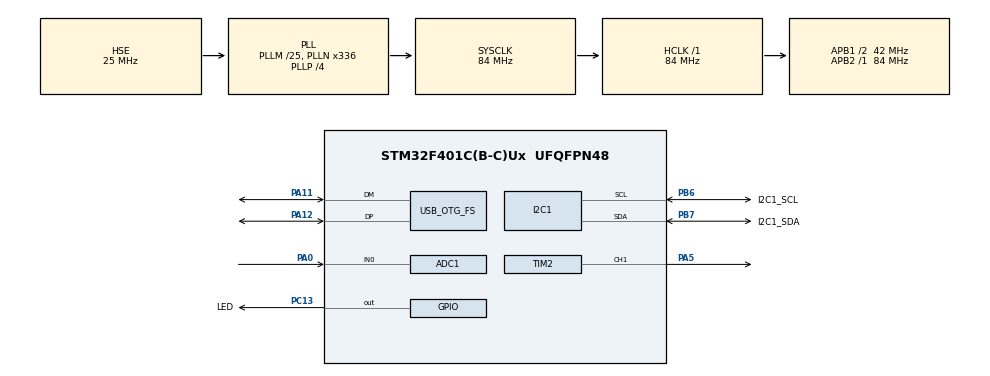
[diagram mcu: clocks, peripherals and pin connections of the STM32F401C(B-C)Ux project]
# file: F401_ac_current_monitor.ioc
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ADC1.Channel-4\#ChannelRegularConversion=ADC_CHANNEL_0
ADC1.Channel-6\#ChannelRegularConversion=ADC_CHANNEL_0
ADC1.ContinuousConvMode=ENABLE
ADC1.NbrOfConversion=2
ADC1.NbrOfConversionFlag=1
ADC1.Rank-4\#ChannelRegularConversion=1
ADC1.Rank-6\#ChannelRegularConversion=2
ADC1.SamplingTime-4\#ChannelRegularConversion=ADC_SAMPLETIME_480CYCLES
ADC1.SamplingTime-6\#ChannelRegularConversion=ADC_SAMPLETIME_480CYCLES
ADC1.master=1
I2C1.I2C_Mode=I2C_Fast
Mcu.Family=STM32F4
Mcu.Name=STM32F401C(B-C)Ux
Mcu.Package=UFQFPN48
NVIC.ADC_IRQn=true\:0\:0\:false\:false\:true\:true\:true\:true
NVIC.OTG_FS_IRQn=true\:0\:0\:false\:false\:true\:true\:true\:true
NVIC.PriorityGroup=NVIC_PRIORITYGROUP_4
PA0-WKUP.Signal=ADCx_IN0
PA11.Mode=Device_Only
PA11.Signal=USB_OTG_FS_DM
PA12.Mode=Device_Only
PA12.Signal=USB_OTG_FS_DP
PA13.Mode=Serial_Wire
PA13.Signal=SYS_JTMS-SWDIO
PA14.Mode=Serial_Wire
PA14.Signal=SYS_JTCK-SWCLK
PA5.Signal=S_TIM2_CH1_ETR
PB6.GPIO_Label=I2C1_SCL
PB6.Mode=I2C
PB6.Signal=I2C1_SCL
PB7.GPIO_Label=I2C1_SDA
PB7.Mode=I2C
PB7.Signal=I2C1_SDA
PC13-ANTI_TAMP.GPIO_Label=LED
PC13-ANTI_TAMP.PinState=GPIO_PIN_SET
PC13-ANTI_TAMP.Signal=GPIO_Output
PC14-OSC32_IN.Mode=LSE-External-Oscillator
PC14-OSC32_IN.Signal=RCC_OSC32_IN
PC15-OSC32_OUT.Mode=LSE-External-Oscillator
PC15-OSC32_OUT.Signal=RCC_OSC32_OUT
PH0\ -\ OSC_IN.Mode=HSE-External-Oscillator
PH0\ -\ OSC_IN.Signal=RCC_OSC_IN
PH1\ -\ OSC_OUT.Mode=HSE-External-Oscillator
PH1\ -\ OSC_OUT.Signal=RCC_OSC_OUT
ProjectManager.HeapSize=0x200
ProjectManager.StackSize=0x400
ProjectManager.TargetToolchain=STM32CubeIDE
RCC.48MHZClocksFreq_Value=48000000
RCC.AHBFreq_Value=84000000
RCC.APB1CLKDivider=RCC_HCLK_DIV2
RCC.APB1Freq_Value=42000000
RCC.APB1TimFreq_Value=84000000
RCC.APB2Freq_Value=84000000
RCC.APB2TimFreq_Value=84000000
RCC.CortexFreq_Value=84000000
RCC.HCLKFreq_Value=84000000
RCC.HSE_VALUE=25000000
RCC.HSI_VALUE=16000000
RCC.PLLM=25
RCC.PLLN=336
RCC.PLLP=RCC_PLLP_DIV4
RCC.PLLQ=7
RCC.RCC_RTC_Clock_Source=RCC_RTCCLKSOURCE_LSE
RCC.RCC_RTC_Clock_SourceVirtual=RCC_RTCCLKSOURCE_LSE
RCC.SYSCLKFreq_VALUE=84000000
RCC.SYSCLKSource=RCC_SYSCLKSOURCE_PLLCLK
RCC.VCOOutputFreq_Value=336000000
RTC.Date=4
RTC.Month=RTC_MONTH_SEPTEMBER
RTC.WeekDay=RTC_WEEKDAY_SUNDAY
RTC.Year=22
SH.ADCx_IN0.0=ADC1_IN0,IN0
SH.S_TIM2_CH1_ETR.0=TIM2_CH1,PWM Generation1 CH1
TIM2.AutoReloadPreload=TIM_AUTORELOAD_PRELOAD_ENABLE
TIM2.Channel-PWM\ Generation1\ CH1=TIM_CHANNEL_1
TIM2.Period=65535
USB_DEVICE.CLASS_NAME_FS=CDC
USB_DEVICE.VirtualMode=Cdc
USB_DEVICE.VirtualModeFS=Cdc_FS
USB_OTG_FS.VirtualMode=Device_Only
VP_RTC_VS_RTC_Activate.Mode=RTC_Enabled
VP_RTC_VS_RTC_Calendar.Mode=RTC_Calendar
VP_TIM2_VS_ClockSourceINT.Mode=Internal
VP_USB_DEVICE_VS_USB_DEVICE_CDC_FS.Mode=CDC_FS
board=custom

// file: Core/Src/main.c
/* USER CODE BEGIN Header */
/**
  ******************************************************************************
  * @file           : main.c
  * @brief          : Main program body
  ******************************************************************************
  * @attention
  *
  * Copyright (c) 2022 STMicroelectronics.
  * All rights reserved.
  *
  * This software is licensed under terms that can be found in the LICENSE file
  * in the root directory of this software component.
  * If no LICENSE file comes with this software, it is provided AS-IS.
  *
  ******************************************************************************
  */
/* USER CODE END Header */
#include "main.h"
#include "usb_device.h"

/* USER CODE BEGIN Includes */
#include <string.h>
#include "stdio.h"
#include "ssd1306.h"
#include "fonts.h"
#include <inttypes.h>

/* USER CODE END Includes */

ADC_HandleTypeDef hadc1;

I2C_HandleTypeDef hi2c1;

RTC_HandleTypeDef hrtc;

TIM_HandleTypeDef htim2;

/* USER CODE BEGIN PV */
uint16_t adc_result = 0;
char adc_result_str[5];
char volts_str[5];
/* USER CODE END PV */

void SystemClock_Config(void);
static void MX_GPIO_Init(void);
static void MX_ADC1_Init(void);
static void MX_RTC_Init(void);
static void MX_TIM2_Init(void);
static void MX_I2C1_Init(void);
/* USER CODE BEGIN PFP */
float compute_volts(uint16_t);
/* USER CODE END PFP */

/* USER CODE BEGIN 0 */
void HAL_ADC_ConvCpltCallback(ADC_HandleTypeDef* hadc){
	adc_result = HAL_ADC_GetValue(&hadc1);
//	HAL_ADC_Start_IT(&hadc1);
}
/* USER CODE END 0 */

int main(void)
{

  /* MCU Configuration--------------------------------------------------------*/

  /* Reset of all peripherals, Initializes the Flash interface and the Systick. */
  HAL_Init();

  /* Configure the system clock */
  SystemClock_Config();

  /* Initialize all configured peripherals */
  MX_GPIO_Init();
  MX_ADC1_Init();
  MX_RTC_Init();
  MX_USB_DEVICE_Init();
  MX_TIM2_Init();
  MX_I2C1_Init();
  /* USER CODE BEGIN 2 */

  // Init lcd using one of the stm32HAL i2c typedefs
  SSD1306_Init();

  SSD1306_Fill(0);
  SSD1306_UpdateScreen();

  HAL_Delay(1000);

  // Write data to local screenbuffer
  SSD1306_GotoXY(0, 0);
  SSD1306_Puts("HELLO", &Font_11x18, 1);
  SSD1306_GotoXY(10, 30);
  SSD1306_Puts(" WORLD", &Font_11x18, 1);

  SSD1306_UpdateScreen();

  // Draw rectangle on screen
  for (uint8_t i=0; i<28; i++) {
      for (uint8_t j=0; j<64; j++) {
          SSD1306_DrawPixel(100+i, 0+j, 1);
      }
  }
  // Copy all data from local screenbuffer to the screen
  SSD1306_UpdateScreen();

  HAL_Delay(1000);
  SSD1306_Clear();

  HAL_TIM_PWM_Start(&htim2, TIM_CHANNEL_1);
  for (uint8_t i = 0; i < 7; i++){
	  HAL_GPIO_TogglePin(LED_GPIO_Port, LED_Pin);
  	  HAL_Delay(200);
  }

  HAL_ADC_Start_IT(&hadc1);
  /* USER CODE END 2 */

  /* Infinite loop */
  /* USER CODE BEGIN WHILE */
  while (1)
  {
	  TIM2->CCR1 = (adc_result<<4);
	  HAL_GPIO_TogglePin(LED_GPIO_Port, LED_Pin);

	  SSD1306_Fill (0);
	  SSD1306_GotoXY(0, 0);
	  sprintf(adc_result_str, "%u", adc_result);
	  sprintf(volts_str, "%.3f", compute_volts(adc_result));
	  SSD1306_Puts(adc_result_str, &Font_11x18, 1);
	  SSD1306_GotoXY(0, 18);
	  SSD1306_Puts(volts_str, &Font_11x18, 1);
	  SSD1306_GotoXY(55, 18);
	  SSD1306_Puts(" Volts", &Font_11x18, 1);
	  SSD1306_UpdateScreen();
	  // HAL_Delay(5);

    /* USER CODE END WHILE */

  }
}

void SystemClock_Config(void)
{
  RCC_OscInitTypeDef RCC_OscInitStruct = {0};
  RCC_ClkInitTypeDef RCC_ClkInitStruct = {0};

  /** Configure the main internal regulator output voltage
  */
  __HAL_RCC_PWR_CLK_ENABLE();
  __HAL_PWR_VOLTAGESCALING_CONFIG(PWR_REGULATOR_VOLTAGE_SCALE2);

  /** Initializes the RCC Oscillators according to the specified parameters
  * in the RCC_OscInitTypeDef structure.
  */
  RCC_OscInitStruct.OscillatorType = RCC_OSCILLATORTYPE_HSE|RCC_OSCILLATORTYPE_LSE;
  RCC_OscInitStruct.HSEState = RCC_HSE_ON;
  RCC_OscInitStruct.LSEState = RCC_LSE_ON;
  RCC_OscInitStruct.PLL.PLLState = RCC_PLL_ON;
  RCC_OscInitStruct.PLL.PLLSource = RCC_PLLSOURCE_HSE;
  RCC_OscInitStruct.PLL.PLLM = 25;
  RCC_OscInitStruct.PLL.PLLN = 336;
  RCC_OscInitStruct.PLL.PLLP = RCC_PLLP_DIV4;
  RCC_OscInitStruct.PLL.PLLQ = 7;
  if (HAL_RCC_OscConfig(&RCC_OscInitStruct) != HAL_OK)
  {
    Error_Handler();
  }

  /** Initializes the CPU, AHB and APB buses clocks
  */
  RCC_ClkInitStruct.ClockType = RCC_CLOCKTYPE_HCLK|RCC_CLOCKTYPE_SYSCLK
                              |RCC_CLOCKTYPE_PCLK1|RCC_CLOCKTYPE_PCLK2;
  RCC_ClkInitStruct.SYSCLKSource = RCC_SYSCLKSOURCE_PLLCLK;
  RCC_ClkInitStruct.AHBCLKDivider = RCC_SYSCLK_DIV1;
  RCC_ClkInitStruct.APB1CLKDivider = RCC_HCLK_DIV2;
  RCC_ClkInitStruct.APB2CLKDivider = RCC_HCLK_DIV1;

  if (HAL_RCC_ClockConfig(&RCC_ClkInitStruct, FLASH_LATENCY_2) != HAL_OK)
  {
    Error_Handler();
  }
}

static void MX_ADC1_Init(void)
{

  ADC_ChannelConfTypeDef sConfig = {0};

  /** Configure the global features of the ADC (Clock, Resolution, Data Alignment and number of conversion)
  */
  hadc1.Instance = ADC1;
  hadc1.Init.ClockPrescaler = ADC_CLOCK_SYNC_PCLK_DIV4;
  hadc1.Init.Resolution = ADC_RESOLUTION_12B;
  hadc1.Init.ScanConvMode = ENABLE;
  hadc1.Init.ContinuousConvMode = ENABLE;
  hadc1.Init.DiscontinuousConvMode = DISABLE;
  hadc1.Init.ExternalTrigConvEdge = ADC_EXTERNALTRIGCONVEDGE_NONE;
  hadc1.Init.ExternalTrigConv = ADC_SOFTWARE_START;
  hadc1.Init.DataAlign = ADC_DATAALIGN_RIGHT;
  hadc1.Init.NbrOfConversion = 2;
  hadc1.Init.DMAContinuousRequests = DISABLE;
  hadc1.Init.EOCSelection = ADC_EOC_SINGLE_CONV;
  if (HAL_ADC_Init(&hadc1) != HAL_OK)
  {
    Error_Handler();
  }

  /** Configure for the selected ADC regular channel its corresponding rank in the sequencer and its sample time.
  */
  sConfig.Channel = ADC_CHANNEL_0;
  sConfig.Rank = 1;
  sConfig.SamplingTime = ADC_SAMPLETIME_480CYCLES;
  if (HAL_ADC_ConfigChannel(&hadc1, &sConfig) != HAL_OK)
  {
    Error_Handler();
  }

  /** Configure for the selected ADC regular channel its corresponding rank in the sequencer and its sample time.
  */
  sConfig.Rank = 2;
  if (HAL_ADC_ConfigChannel(&hadc1, &sConfig) != HAL_OK)
  {
    Error_Handler();
  }

}

static void MX_I2C1_Init(void)
{

  hi2c1.Instance = I2C1;
  hi2c1.Init.ClockSpeed = 400000;
  hi2c1.Init.DutyCycle = I2C_DUTYCYCLE_2;
  hi2c1.Init.OwnAddress1 = 0;
  hi2c1.Init.AddressingMode = I2C_ADDRESSINGMODE_7BIT;
  hi2c1.Init.DualAddressMode = I2C_DUALADDRESS_DISABLE;
  hi2c1.Init.OwnAddress2 = 0;
  hi2c1.Init.GeneralCallMode = I2C_GENERALCALL_DISABLE;
  hi2c1.Init.NoStretchMode = I2C_NOSTRETCH_DISABLE;
  if (HAL_I2C_Init(&hi2c1) != HAL_OK)
  {
    Error_Handler();
  }

}

static void MX_RTC_Init(void)
{

  RTC_TimeTypeDef sTime = {0};
  RTC_DateTypeDef sDate = {0};

  /** Initialize RTC Only
  */
  hrtc.Instance = RTC;
  hrtc.Init.HourFormat = RTC_HOURFORMAT_24;
  hrtc.Init.AsynchPrediv = 127;
  hrtc.Init.SynchPrediv = 255;
  hrtc.Init.OutPut = RTC_OUTPUT_DISABLE;
  hrtc.Init.OutPutPolarity = RTC_OUTPUT_POLARITY_HIGH;
  hrtc.Init.OutPutType = RTC_OUTPUT_TYPE_OPENDRAIN;
  if (HAL_RTC_Init(&hrtc) != HAL_OK)
  {
    Error_Handler();
  }

  /** Initialize RTC and set the Time and Date
  */
  sTime.Hours = 0x0;
  sTime.Minutes = 0x0;
  sTime.Seconds = 0x0;
  sTime.DayLightSaving = RTC_DAYLIGHTSAVING_NONE;
  sTime.StoreOperation = RTC_STOREOPERATION_RESET;
  if (HAL_RTC_SetTime(&hrtc, &sTime, RTC_FORMAT_BCD) != HAL_OK)
  {
    Error_Handler();
  }
  sDate.WeekDay = RTC_WEEKDAY_SUNDAY;
  sDate.Month = RTC_MONTH_SEPTEMBER;
  sDate.Date = 0x4;
  sDate.Year = 0x22;

  if (HAL_RTC_SetDate(&hrtc, &sDate, RTC_FORMAT_BCD) != HAL_OK)
  {
    Error_Handler();
  }

}

static void MX_TIM2_Init(void)
{

  TIM_ClockConfigTypeDef sClockSourceConfig = {0};
  TIM_MasterConfigTypeDef sMasterConfig = {0};
  TIM_OC_InitTypeDef sConfigOC = {0};

  htim2.Instance = TIM2;
  htim2.Init.Prescaler = 0;
  htim2.Init.CounterMode = TIM_COUNTERMODE_UP;
  htim2.Init.Period = 65535;
  htim2.Init.ClockDivision = TIM_CLOCKDIVISION_DIV1;
  htim2.Init.AutoReloadPreload = TIM_AUTORELOAD_PRELOAD_ENABLE;
  if (HAL_TIM_Base_Init(&htim2) != HAL_OK)
  {
    Error_Handler();
  }
  sClockSourceConfig.ClockSource = TIM_CLOCKSOURCE_INTERNAL;
  if (HAL_TIM_ConfigClockSource(&htim2, &sClockSourceConfig) != HAL_OK)
  {
    Error_Handler();
  }
  if (HAL_TIM_PWM_Init(&htim2) != HAL_OK)
  {
    Error_Handler();
  }
  sMasterConfig.MasterOutputTrigger = TIM_TRGO_RESET;
  sMasterConfig.MasterSlaveMode = TIM_MASTERSLAVEMODE_DISABLE;
  if (HAL_TIMEx_MasterConfigSynchronization(&htim2, &sMasterConfig) != HAL_OK)
  {
    Error_Handler();
  }
  sConfigOC.OCMode = TIM_OCMODE_PWM1;
  sConfigOC.Pulse = 0;
  sConfigOC.OCPolarity = TIM_OCPOLARITY_HIGH;
  sConfigOC.OCFastMode = TIM_OCFAST_DISABLE;
  if (HAL_TIM_PWM_ConfigChannel(&htim2, &sConfigOC, TIM_CHANNEL_1) != HAL_OK)
  {
    Error_Handler();
  }
  HAL_TIM_MspPostInit(&htim2);

}

static void MX_GPIO_Init(void)
{
  GPIO_InitTypeDef GPIO_InitStruct = {0};

  /* GPIO Ports Clock Enable */
  __HAL_RCC_GPIOC_CLK_ENABLE();
  __HAL_RCC_GPIOH_CLK_ENABLE();
  __HAL_RCC_GPIOA_CLK_ENABLE();
  __HAL_RCC_GPIOB_CLK_ENABLE();

  /*Configure GPIO pin Output Level */
  HAL_GPIO_WritePin(LED_GPIO_Port, LED_Pin, GPIO_PIN_SET);

  /*Configure GPIO pin : LED_Pin */
  GPIO_InitStruct.Pin = LED_Pin;
  GPIO_InitStruct.Mode = GPIO_MODE_OUTPUT_PP;
  GPIO_InitStruct.Pull = GPIO_NOPULL;
  GPIO_InitStruct.Speed = GPIO_SPEED_FREQ_LOW;
  HAL_GPIO_Init(LED_GPIO_Port, &GPIO_InitStruct);

}

/* USER CODE BEGIN 4 */
float compute_volts(uint16_t adc_value)
{
	float volts = 0;
	volts = 3.3/4096.0 * adc_value;
	return volts;
}
/* USER CODE END 4 */

void Error_Handler(void)
{
  __disable_irq();
  while (1)
  {
  }
}
